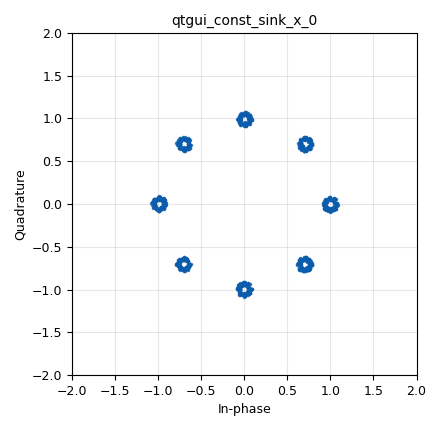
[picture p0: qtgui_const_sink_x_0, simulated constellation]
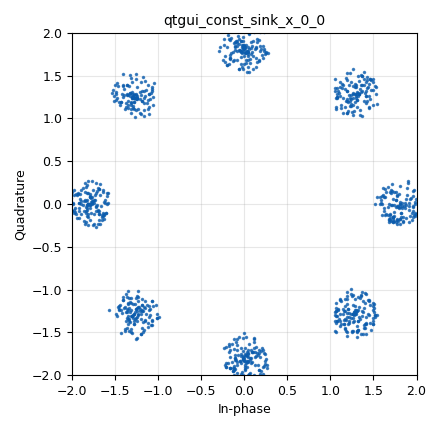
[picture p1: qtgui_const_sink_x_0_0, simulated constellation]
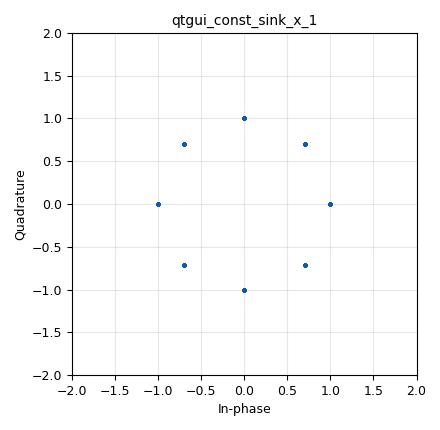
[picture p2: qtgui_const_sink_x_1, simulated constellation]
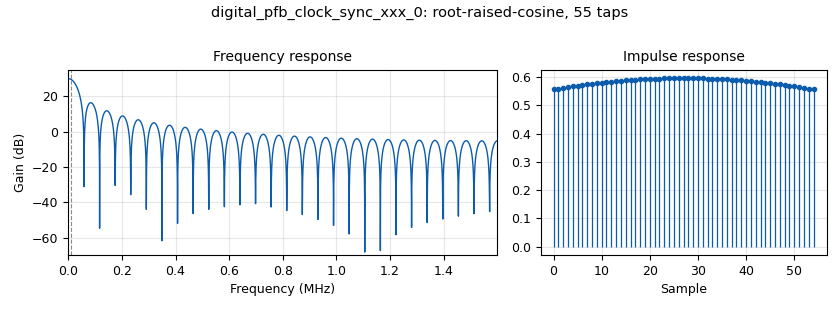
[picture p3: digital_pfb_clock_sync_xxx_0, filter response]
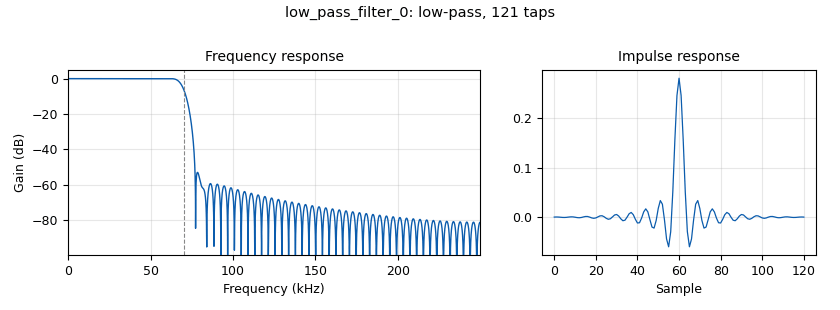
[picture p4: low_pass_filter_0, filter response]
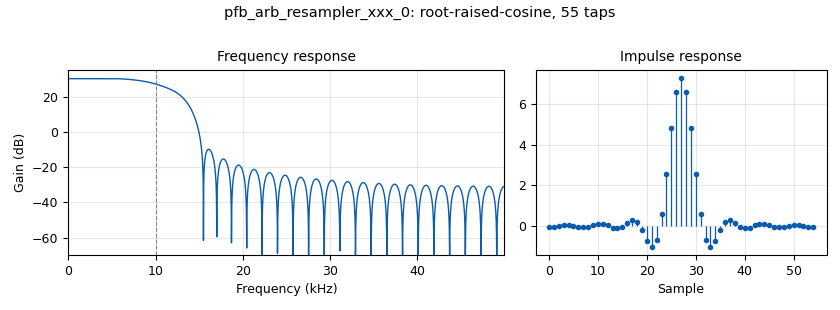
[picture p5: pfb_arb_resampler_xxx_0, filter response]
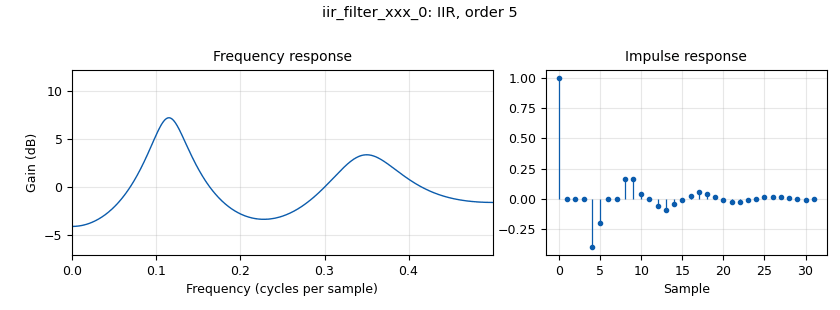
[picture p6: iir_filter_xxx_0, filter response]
options:
  parameters:
    generate_options: qt_gui
    id: test
    output_language: python
    title: Not titled yet
  states: {}

blocks:
- name: quad_rate
  id: variable
  parameters:
    value: 5*samp_rate
  states: {}
- name: rx_taps
  id: variable
  parameters:
    value: firdes.root_raised_cosine(32, 32*samp_rate, symb_rate, 0.5, 11*sps)
  states: {}
- name: samp_rate
  id: variable
  parameters:
    value: sps*symb_rate
  states: {}
- name: sps
  id: variable
  parameters:
    value: '5'
  states: {}
- name: symb_rate
  id: variable
  parameters:
    value: '20000'
  states: {}
- name: tx_taps
  id: variable
  parameters:
    value: firdes.root_raised_cosine(32, samp_rate, symb_rate, 0.5, 11*sps)
  states: {}
- name: analog_random_source_x_0
  id: analog_random_source_x
  parameters:
    max: '8'
    min: '0'
    num_samps: '1000'
    repeat: 'True'
    type: byte
  states: {}
- name: analog_sig_source_x_0
  id: analog_sig_source_x
  parameters:
    amp: '1'
    freq: '200000'
    offset: '0'
    phase: '0'
    samp_rate: quad_rate
    type: complex
    waveform: analog.GR_COS_WAVE
  states: {}
- name: analog_sig_source_x_1
  id: analog_sig_source_x
  parameters:
    amp: '1'
    freq: '200000'
    offset: '0'
    phase: '0'
    samp_rate: quad_rate
    type: float
    waveform: analog.GR_COS_WAVE
  states: {}
- name: analog_sig_source_x_1_0
  id: analog_sig_source_x
  parameters:
    amp: '-1'
    freq: '200000'
    offset: '0'
    phase: '0'
    samp_rate: quad_rate
    type: float
    waveform: analog.GR_SIN_WAVE
  states: {}
- name: blocks_add_xx_0
  id: blocks_add_xx
  parameters:
    num_inputs: '3'
    type: float
  states: {}
- name: blocks_complex_to_real_0
  id: blocks_complex_to_real
  parameters: {}
  states: {}
- name: blocks_delay_0
  id: blocks_delay
  parameters:
    delay: '20'
    type: float
  states: {}
- name: blocks_delay_0_0
  id: blocks_delay
  parameters:
    delay: '25'
    type: float
  states: {}
- name: blocks_float_to_complex_0
  id: blocks_float_to_complex
  parameters: {}
  states: {}
- name: blocks_multiply_const_vxx_0
  id: blocks_multiply_const_vxx
  parameters:
    const: '0.4'
    type: float
  states: {}
- name: blocks_multiply_const_vxx_0_0
  id: blocks_multiply_const_vxx
  parameters:
    const: '0.2'
    type: float
  states: {}
- name: blocks_multiply_xx_0
  id: blocks_multiply_xx
  parameters:
    type: complex
  states: {}
- name: blocks_multiply_xx_1
  id: blocks_multiply_xx
  parameters:
    type: float
  states: {}
- name: blocks_multiply_xx_1_0
  id: blocks_multiply_xx
  parameters:
    type: float
  states: {}
- name: blocks_throttle_0
  id: blocks_throttle
  parameters:
    samples_per_second: quad_rate
    type: float
  states: {}
- name: constellations
  id: qtgui_tab_widget
  parameters:
    label0: Initial Constellation
    label1: After CMA
    label2: After Custom Equalizer
    num_tabs: '3'
  states: {}
- name: digital_chunks_to_symbols_xx_0
  id: digital_chunks_to_symbols_xx
  parameters:
    dimension: '1'
    in_type: byte
    out_type: complex
    symbol_table: ((1+0j),  (0.7071+0.7071j), (0+1j), (-0.7071+0.7071j), (-1+0j), (-0.7071-0.7071j), (0-1j),  (0.7071-0.7071j))
  states: {}
- name: digital_cma_equalizer_cc_0
  id: digital_cma_equalizer_cc
  parameters:
    modulus: '1'
    mu: '400e-6'
    num_taps: '4'
    sps: '1'
  states: {}
- name: digital_pfb_clock_sync_xxx_0
  id: digital_pfb_clock_sync_xxx
  parameters:
    filter_size: '32'
    init_phase: '16'
    loop_bw: 2*3.14159265354/100
    max_dev: '1.5'
    osps: '1'
    sps: sps
    taps: rx_taps
    type: ccf
  states: {}
- name: digital_pfb_clock_sync_xxx_0_0
  id: digital_pfb_clock_sync_xxx
  parameters:
    filter_size: '32'
    init_phase: '16'
    loop_bw: 2*3.14159265354/100
    max_dev: '1.5'
    osps: '1'
    sps: sps
    taps: rx_taps
    type: ccf
  states: {}
- name: iir_filter_xxx_0
  id: iir_filter_xxx
  parameters:
    fbtaps: '[1,0,0,0,-0.4,-0.2]'
    fftaps: '[1]'
    type: ccf
  states: {}
- name: low_pass_filter_0
  id: low_pass_filter
  parameters:
    cutoff_freq: '70000'
    gain: '1'
    interp: '1'
    samp_rate: quad_rate
    type: interp_fir_filter_fff
    width: '10000'
    win: window.WIN_HAMMING
  states: {}
- name: low_pass_filter_0_0
  id: low_pass_filter
  parameters:
    cutoff_freq: '70000'
    gain: '1'
    interp: '1'
    samp_rate: quad_rate
    type: interp_fir_filter_fff
    width: '10000'
    win: window.WIN_HAMMING
  states: {}
- name: pfb_arb_resampler_xxx_0
  id: pfb_arb_resampler_xxx
  parameters:
    atten: '100'
    nfilts: '32'
    rrate: sps
    taps: tx_taps
    type: ccf
  states: {}
- name: qtgui_const_sink_x_0
  id: qtgui_const_sink_x
  parameters:
    gui_hint: constellations@1
    size: '1024'
    type: complex
  states: {}
- name: qtgui_const_sink_x_0_0
  id: qtgui_const_sink_x
  parameters:
    gui_hint: constellations@2
    size: '1024'
    type: complex
  states: {}
- name: qtgui_const_sink_x_1
  id: qtgui_const_sink_x
  parameters:
    gui_hint: constellations@0
    size: '1024'
    type: complex
  states: {}
- name: rational_resampler_xxx_0
  id: rational_resampler_xxx
  parameters:
    decim: '1'
    interp: int(quad_rate/samp_rate)
    type: ccc
  states: {}
- name: rational_resampler_xxx_0_0
  id: rational_resampler_xxx
  parameters:
    decim: int(quad_rate/samp_rate)
    interp: '1'
    type: ccc
  states: {}
- name: virtual_sink_0
  id: virtual_sink
  parameters:
    stream_id: tx_out
  states: {}
- name: virtual_sink_1
  id: virtual_sink
  parameters:
    stream_id: rx_in
  states: {}
- name: virtual_source_0
  id: virtual_source
  parameters:
    stream_id: tx_out
  states: {}
- name: virtual_source_1
  id: virtual_source
  parameters:
    stream_id: rx_in
  states: {}

connections:
- [analog_random_source_x_0, '0', digital_chunks_to_symbols_xx_0, '0']
- [analog_sig_source_x_0, '0', blocks_multiply_xx_0, '1']
- [analog_sig_source_x_1, '0', blocks_multiply_xx_1, '0']
- [analog_sig_source_x_1_0, '0', blocks_multiply_xx_1_0, '1']
- [blocks_add_xx_0, '0', virtual_sink_1, '0']
- [blocks_complex_to_real_0, '0', blocks_throttle_0, '0']
- [blocks_delay_0, '0', blocks_multiply_const_vxx_0, '0']
- [blocks_delay_0_0, '0', blocks_multiply_const_vxx_0_0, '0']
- [blocks_float_to_complex_0, '0', rational_resampler_xxx_0_0, '0']
- [blocks_multiply_const_vxx_0, '0', blocks_add_xx_0, '1']
- [blocks_multiply_const_vxx_0_0, '0', blocks_add_xx_0, '2']
- [blocks_multiply_xx_0, '0', blocks_complex_to_real_0, '0']
- [blocks_multiply_xx_1, '0', low_pass_filter_0, '0']
- [blocks_multiply_xx_1_0, '0', low_pass_filter_0_0, '0']
- [blocks_throttle_0, '0', virtual_sink_0, '0']
- [digital_chunks_to_symbols_xx_0, '0', pfb_arb_resampler_xxx_0, '0']
- [digital_chunks_to_symbols_xx_0, '0', qtgui_const_sink_x_1, '0']
- [digital_cma_equalizer_cc_0, '0', qtgui_const_sink_x_0, '0']
- [digital_pfb_clock_sync_xxx_0, '0', digital_cma_equalizer_cc_0, '0']
- [digital_pfb_clock_sync_xxx_0_0, '0', qtgui_const_sink_x_0_0, '0']
- [iir_filter_xxx_0, '0', digital_pfb_clock_sync_xxx_0_0, '0']
- [low_pass_filter_0, '0', blocks_float_to_complex_0, '0']
- [low_pass_filter_0_0, '0', blocks_float_to_complex_0, '1']
- [pfb_arb_resampler_xxx_0, '0', rational_resampler_xxx_0, '0']
- [rational_resampler_xxx_0, '0', blocks_multiply_xx_0, '0']
- [rational_resampler_xxx_0_0, '0', digital_pfb_clock_sync_xxx_0, '0']
- [rational_resampler_xxx_0_0, '0', iir_filter_xxx_0, '0']
- [virtual_source_0, '0', blocks_add_xx_0, '0']
- [virtual_source_0, '0', blocks_delay_0, '0']
- [virtual_source_0, '0', blocks_delay_0_0, '0']
- [virtual_source_1, '0', blocks_multiply_xx_1, '1']
- [virtual_source_1, '0', blocks_multiply_xx_1_0, '0']

metadata:
  file_format: 1
  grc_version: 3.9.8.0-rc1
